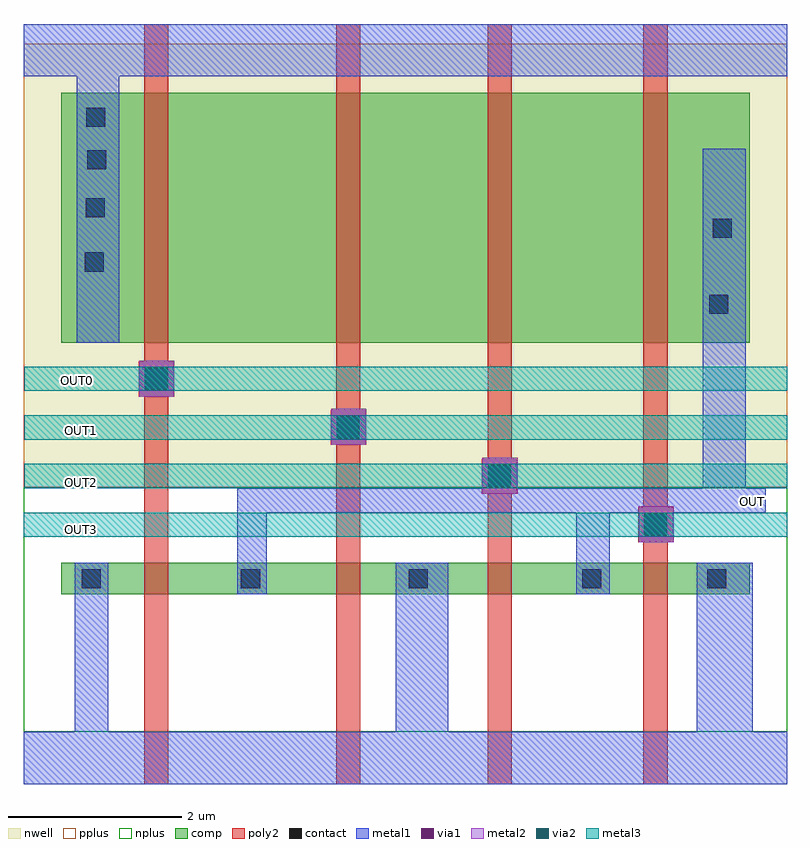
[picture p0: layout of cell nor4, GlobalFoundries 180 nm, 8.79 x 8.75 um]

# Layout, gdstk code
import gdstk
lib = gdstk.Library(unit=1e-6, precision=5e-09)
def R(c, l, rs):  # rectangles x0, y0, x1, y1
    for r in rs: c.add(gdstk.rectangle(r[:2], r[2:], *l))
def A(c, l, x, y, w, h, nx, ny, dx, dy):  # array of equal rectangles
    R(c, l, [(x+i*dx, y+j*dy, x+i*dx+w, y+j*dy+h) for i in range(nx) for j in range(ny)])
nwell = (21, 0)
comp = (22, 0)
poly2 = (30, 0)
pplus = (31, 0)
nplus = (32, 0)
contact = (33, 0)
metal1 = (34, 0)
via1 = (35, 0)
metal2 = (36, 0)
via2 = (38, 0)
metal3 = (42, 0)

nor4 = lib.new_cell('nor4')
R(nor4, nwell, [(0,3.115,8.79,8.22)])
R(nor4, comp, [(0.43,1.885,8.36,2.245), (0.43,4.78,8.36,7.66)])
R(nor4, poly2, [(1.385,-0.3,1.665,8.45), (3.595,-0.3,3.875,8.45), (5.34,-0.3,5.62,8.45), (7.135,-0.3,7.415,8.45), (7.075,2.485,7.475,2.885), (5.275,3.04,5.675,3.44), (3.535,3.605,3.935,4.005), (1.325,4.16,1.725,4.56)])
R(nor4, pplus, [(0,3.115,8.79,8.22)])
R(nor4, nplus, [(0,0.3,8.79,3.115)])
R(nor4, contact, [(0.665,1.955,0.885,2.175), (2.5,1.955,2.72,2.175), (4.43,1.955,4.65,2.175), (6.43,1.955,6.65,2.175), (7.87,1.955,8.09,2.175), (7.165,2.575,7.385,2.795), (5.365,3.135,5.585,3.355), (3.625,3.695,3.845,3.915), (1.415,4.255,1.635,4.475), (7.89,5.115,8.11,5.335), (0.7,5.6,0.92,5.82), (7.93,5.99,8.15,6.21), (0.715,6.225,0.935,6.445), (0.73,6.775,0.95,6.995), (0.72,7.265,0.94,7.485)])
R(nor4, metal1, [(0,-0.3,8.79,0.3), (0.585,-0.3,0.975,2.245), (4.285,-0.3,4.885,2.245), (7.75,-0.3,8.395,2.245), (2.46,1.885,2.8,3.105), (6.36,1.885,6.745,3.105), (7.08,2.485,7.485,2.9), (2.46,2.825,8.54,3.105), (7.82,2.825,8.31,7.015), (5.28,3.04,5.685,3.455), (3.54,3.605,3.945,4.02), (1.33,4.16,1.735,4.575), (0.61,4.78,1.1,8.45), (0,7.85,8.79,8.45)])
R(nor4, via1, [(7.145,2.555,7.405,2.815), (5.345,3.115,5.605,3.375), (3.605,3.675,3.865,3.935), (1.395,4.235,1.655,4.495)])
R(nor4, metal2, [(7.08,2.485,7.485,2.9), (5.28,3.04,5.685,3.455), (3.54,3.605,3.945,4.02), (1.33,4.16,1.735,4.575)])
R(nor4, via2, [(7.145,2.555,7.405,2.815), (5.345,3.115,5.605,3.375), (3.605,3.675,3.865,3.935), (1.395,4.235,1.655,4.495)])
A(nor4, metal3, 0.005, 3.105, 8.785, 0.28, 1, 3, 0, 0.56)
R(nor4, metal3, [(0,2.545,8.79,2.825)])
nor4.add(gdstk.Label('OUT3', (0.67,2.635), layer=42, texttype=10))
nor4.add(gdstk.Label('OUT2', (0.67,3.17), layer=42, texttype=10))
nor4.add(gdstk.Label('OUT1', (0.67,3.775), layer=42, texttype=10))
nor4.add(gdstk.Label('OUT0', (0.615,4.34), layer=42, texttype=10))
nor4.add(gdstk.Label('OUT', (8.395,2.95), layer=34, texttype=10))
nor4.add(gdstk.Label('OUT', (46.915,1.975), layer=34, texttype=10))

lib.write_gds('nor4.gds')
